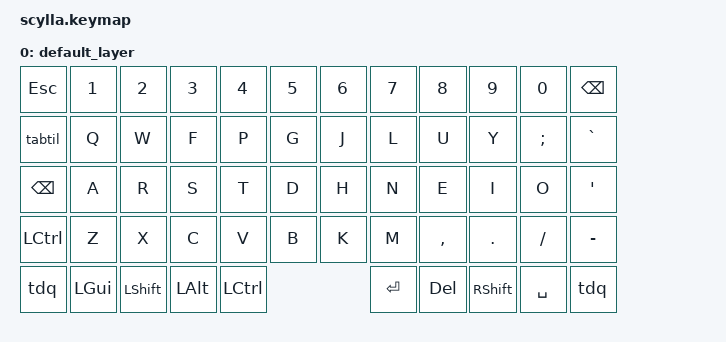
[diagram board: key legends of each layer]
/*
 * Copyright (c) 2021 The ZMK Contributors
 *
 * SPDX-License-Identifier: MIT
 */

#include <behaviors.dtsi>
#include <dt-bindings/zmk/keys.h>
#include <dt-bindings/zmk/bt.h>
#include <dt-bindings/zmk/ext_power.h>
#include <dt-bindings/zmk/outputs.h>


#define NONE 0

/ {

    keymap {
        compatible =  "zmk,keymap";

        default_layer {
// --------------------------------------------------------------------------------------------------------------------------------------------------
// | ESC    |   1       |   2       |   3       |   4       |  5    |  ---  |   6       |   7       |   8       |   9       |   0       |   BKSP    |
// | TAB    |   Q       |   W       |   F       |   P       |  G    |  ---  |   J       |   L       |   U       |   Y       |   ;       |   `       |
// | BKSP   |   A       |   R       |   S       |   T       |  D    |  ---  |   H       |   N       |   E       |   I       |   O       |   '       |
// | CTRL   |   Z       |   X       |   C       |   V       |  B    |  ---  |   K       |   M       |   ,       |   .       |   /       |   -       |
// | RAISE  |   LGUI    |   LSHIFT  |   LALT    |   LCTRL   |          ---              |   ENTER   |   DEL     |   RSHIFT  |   SPACE   |   RAISE   |
            bindings = <
   &kp ESC      &kp N1      &kp N2      &kp N3      &kp N4      &kp N5          &kp N6      &kp N7      &kp N8      &kp N9      &kp N0      &kp BSPC
   &tabtil      &kp Q       &kp W       &kp F       &kp P       &kp G           &kp J       &kp L       &kp U       &kp Y       &kp SEMI    &kp GRAVE
   &kp BSPC     &kp A       &kp R       &kp S       &kp T       &kp D           &kp H       &kp N       &kp E       &kp I       &kp O       &kp SQT
   &kp LCTRL    &kp Z       &kp X       &kp C       &kp V       &kp B           &kp K       &kp M       &kp COMMA   &kp DOT     &kp FSLH    &kp MINUS
   &tdq         &kp LGUI    &kp LSHIFT  &kp LALT    &kp LCTRL                               &kp RET     &kp DEL     &kp RSHIFT  &kp SPACE   &tdq

            >;

        };


    };


};
